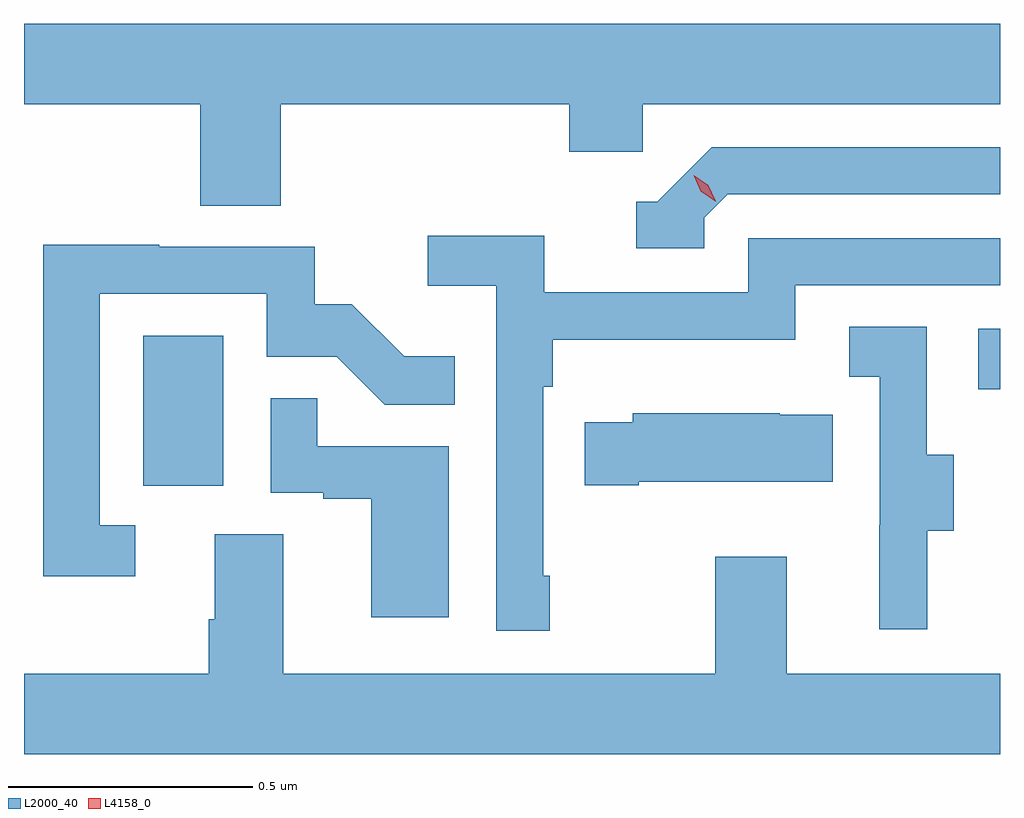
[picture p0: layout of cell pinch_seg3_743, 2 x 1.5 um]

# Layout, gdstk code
import gdstk
lib = gdstk.Library(unit=1e-6, precision=1e-09)
def R(c, l, rs):  # rectangles x0, y0, x1, y1
    for r in rs: c.add(gdstk.rectangle(r[:2], r[2:], *l))
def P(c, l, *ps):  # polygons
    for p in ps: c.add(gdstk.Polygon(p, *l))
L2000_40 = (2000, 40)
L4158_0 = (4158, 0)

pinch_seg3_743 = lib.new_cell('pinch_seg3_743')
R(pinch_seg3_743, L2000_40, [(875.054,734.766,875.218,735.073), (876.765,734.963,876.81,735.087)])
P(pinch_seg3_743, L2000_40, [(875.336,735.548),(875.927,735.548),(875.927,735.45),(876.078,735.45),(876.078,735.548),(876.81,735.548),(876.81,735.712),(874.81,735.712),(874.81,735.548),(875.171,735.548),(875.171,735.34),(875.336,735.34)],
  [(876.204,735.315),(876.252,735.363),(876.81,735.363),(876.81,735.459),(876.219,735.459),(876.108,735.348),(876.065,735.348),(876.065,735.252),(876.204,735.252)],
  [(875.887,734.581),(875.874,734.581),(875.874,734.969),(875.894,734.969),(875.894,735.065),(876.39,735.065),(876.39,735.177),(876.81,735.177),(876.81,735.273),(876.294,735.273),(876.294,735.162),(875.876,735.162),(875.876,735.278),(875.637,735.278),(875.637,735.176),(875.778,735.176),(875.778,734.469),(875.887,734.469)],
  [(875.038,734.685),(874.965,734.685),(874.965,735.159),(875.307,735.159),(875.307,735.03),(875.451,735.03),(875.549,734.932),(875.693,734.932),(875.693,735.031),(875.589,735.031),(875.482,735.138),(875.406,735.138),(875.406,735.255),(875.087,735.255),(875.087,735.26),(874.849,735.26),(874.849,734.58),(875.038,734.58)],
  [(876.661,734.674),(876.715,734.674),(876.715,734.829),(876.66,734.829),(876.66,735.092),(876.501,735.092),(876.501,734.989),(876.564,734.989),(876.564,734.685),(876.563,734.685),(876.563,734.472),(876.661,734.472)],
  [(875.68,734.847),(875.411,734.847),(875.411,734.945),(875.316,734.945),(875.316,734.751),(875.423,734.751),(875.423,734.739),(875.522,734.739),(875.522,734.496),(875.68,734.496)],
  [(876.07,734.774),(876.467,734.774),(876.467,734.911),(876.359,734.911),(876.359,734.914),(876.057,734.914),(876.057,734.896),(875.959,734.896),(875.959,734.767),(876.07,734.767)],
  [(876.81,734.38),(876.373,734.38),(876.373,734.62),(876.226,734.62),(876.226,734.38),(875.341,734.38),(875.341,734.666),(875.201,734.666),(875.201,734.492),(875.189,734.492),(875.189,734.38),(874.81,734.38),(874.81,734.216),(876.81,734.216)])
P(pinch_seg3_743, L4158_0, [(876.227,735.349),(876.197,735.369),(876.182,735.402),(876.182,735.402),(876.182,735.402),(876.212,735.382),(876.228,735.349),(876.228,735.349)])

lib.write_gds('pinch_seg3_743.gds')
